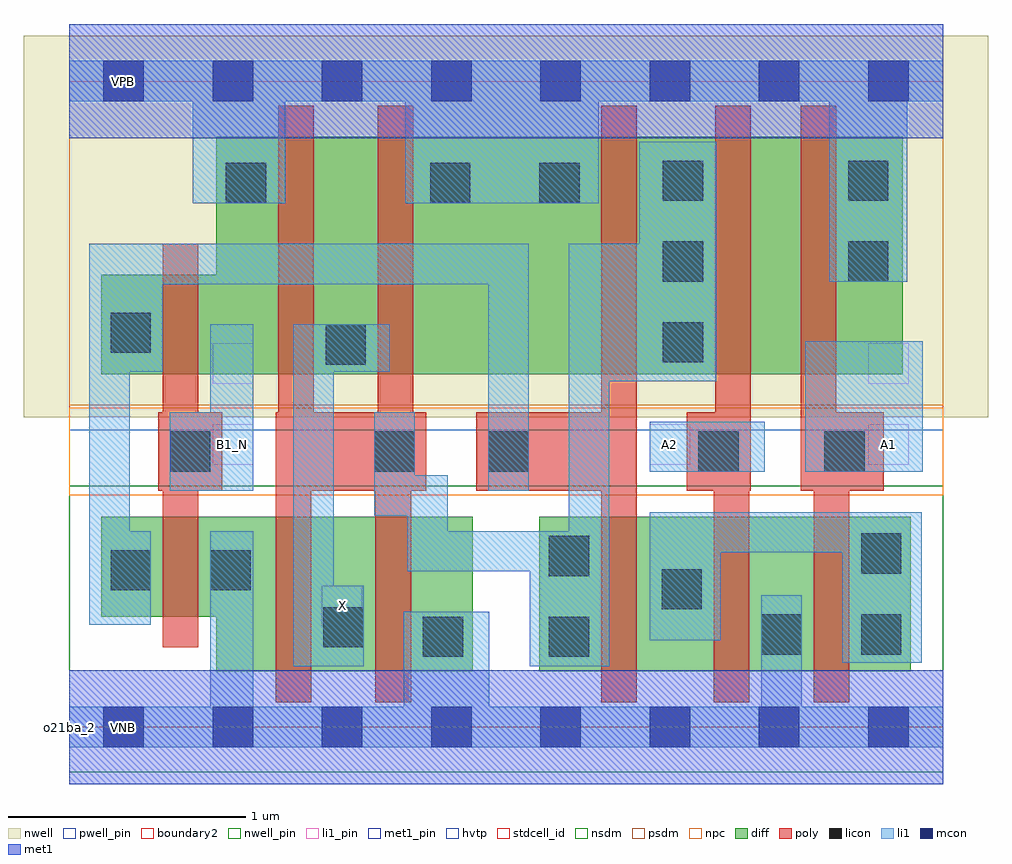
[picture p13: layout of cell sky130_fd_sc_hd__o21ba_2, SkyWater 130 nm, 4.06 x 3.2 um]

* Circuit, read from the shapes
.subckt sky130_fd_sc_hd__o21ba_2 A1 A2 B1_N VGND VNB VPB VPWR X
XM1 VGND B1_N n1 VNB sky130_fd_pr__nfet_01v8 w=0.42 l=0.15
XM2 X n2 VGND VNB sky130_fd_pr__nfet_01v8 w=0.65 l=0.15 m=2
XM3 n3 n1 n2 VNB sky130_fd_pr__nfet_01v8 w=0.65 l=0.15
XM4 VGND A2 n3 VNB sky130_fd_pr__nfet_01v8 w=0.65 l=0.15
XM5 n3 A1 VGND VNB sky130_fd_pr__nfet_01v8 w=0.65 l=0.15
XM6 VPWR B1_N n1 VPB sky130_fd_pr__pfet_01v8_hvt w=0.42 l=0.15
XM7 X n2 VPWR VPB sky130_fd_pr__pfet_01v8_hvt w=1 l=0.15 m=2
XM8 n2 n1 VPWR VPB sky130_fd_pr__pfet_01v8_hvt w=1 l=0.15
XM9 n4 A2 n2 VPB sky130_fd_pr__pfet_01v8_hvt w=1 l=0.15
XM10 VPWR A1 n4 VPB sky130_fd_pr__pfet_01v8_hvt w=1 l=0.15
.ends

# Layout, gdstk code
import gdstk
lib = gdstk.Library(unit=1e-6, precision=1e-09)
def R(c, l, rs):  # rectangles x0, y0, x1, y1
    for r in rs: c.add(gdstk.rectangle(r[:2], r[2:], *l))
def A(c, l, x, y, w, h, nx, ny, dx, dy):  # array of equal rectangles
    R(c, l, [(x+i*dx, y+j*dy, x+i*dx+w, y+j*dy+h) for i in range(nx) for j in range(ny)])
def P(c, l, *ps):  # polygons
    for p in ps: c.add(gdstk.Polygon(p, *l))
nwell_pin = (64, 16)
nwell = (64, 20)
diff = (65, 20)
poly = (66, 20)
licon = (66, 44)
li1_pin = (67, 16)
li1 = (67, 20)
mcon = (67, 44)
met1_pin = (68, 16)
met1 = (68, 20)
hvtp = (78, 44)
stdcell_id = (81, 4)
nsdm = (93, 44)
psdm = (94, 20)
npc = (95, 20)
pwell_pin = (122, 16)
boundary2 = (236, 0)

sky130_fd_sc_hd__o21ba_2 = lib.new_cell('sky130_fd_sc_hd__o21ba_2')
R(sky130_fd_sc_hd__o21ba_2, nwell_pin, [(0.145,2.635,0.315,2.805)])
R(sky130_fd_sc_hd__o21ba_2, nwell, [(-0.19,1.305,3.87,2.91)])
R(sky130_fd_sc_hd__o21ba_2, diff, [(1.98,0.235,3.545,0.885)])
P(sky130_fd_sc_hd__o21ba_2, diff, [(3.51,2.485),(0.62,2.485),(0.62,1.905),(0.135,1.905),(0.135,1.485),(3.51,1.485)],
  [(1.7,0.885),(0.135,0.885),(0.135,0.465),(0.62,0.465),(0.62,0.235),(1.7,0.235)])
P(sky130_fd_sc_hd__o21ba_2, poly, [(0.645,1.325),(0.545,1.325),(0.545,2.035),(0.395,2.035),(0.395,1.325),(0.375,1.325),(0.375,0.995),(0.395,0.995),(0.395,0.335),(0.545,0.335),(0.545,0.995),(0.645,0.995)],
  [(3.43,1.325),(3.23,1.325),(3.23,2.615),(3.08,2.615),(3.08,0.995),(3.135,0.995),(3.135,0.105),(3.285,0.105),(3.285,0.995),(3.43,0.995)],
  [(1.505,1.325),(1.45,1.325),(1.45,2.615),(1.3,2.615),(1.3,1.325),(1.03,1.325),(1.03,2.615),(0.88,2.615),(0.88,1.325),(0.87,1.325),(0.87,0.105),(1.02,0.105),(1.02,0.995),(1.29,0.995),(1.29,0.105),(1.44,0.105),(1.44,0.995),(1.505,0.995)],
  [(2.39,2.615),(2.24,2.615),(2.24,1.325),(1.715,1.325),(1.715,0.995),(2.24,0.995),(2.24,0.105),(2.39,0.105)],
  [(2.87,2.615),(2.72,2.615),(2.72,1.325),(2.6,1.325),(2.6,0.995),(2.715,0.995),(2.715,0.105),(2.865,0.105),(2.865,0.995),(2.87,0.995)])
A(sky130_fd_sc_hd__o21ba_2, licon, 2.5, 1.535, 0.17, 0.17, 1, 3, 0, 0.34)
R(sky130_fd_sc_hd__o21ba_2, licon, [(1.49,0.295,1.66,0.465), (2.02,0.295,2.19,0.465), (2.915,0.305,3.085,0.475), (3.335,0.305,3.505,0.475), (1.07,0.335,1.24,0.505), (2.495,0.495,2.665,0.665), (0.175,0.575,0.345,0.745), (0.595,0.575,0.765,0.745), (2.02,0.635,2.19,0.805), (3.335,0.645,3.505,0.815), (0.425,1.075,0.595,1.245), (1.285,1.075,1.455,1.245), (1.765,1.075,1.935,1.245), (2.65,1.075,2.82,1.245), (3.18,1.075,3.35,1.245), (1.08,1.525,1.25,1.695), (0.175,1.575,0.345,1.745), (3.28,1.875,3.45,2.045), (0.66,2.205,0.83,2.375), (1.52,2.205,1.69,2.375), (1.98,2.205,2.15,2.375), (3.28,2.215,3.45,2.385)])
R(sky130_fd_sc_hd__o21ba_2, li1_pin, [(1.065,0.425,1.235,0.595), (0.605,1.105,0.775,1.275), (2.445,1.105,2.615,1.275), (3.365,1.105,3.535,1.275), (0.605,1.445,0.775,1.615), (3.365,1.445,3.535,1.615)])
R(sky130_fd_sc_hd__o21ba_2, li1, [(2.445,1.075,2.93,1.285), (3.1,1.075,3.595,1.625)])
P(sky130_fd_sc_hd__o21ba_2, li1, [(0.775,1.695),(0.595,1.695),(0.595,1.325),(0.425,1.325),(0.425,0.995),(0.775,0.995)],
  [(3.59,0.905),(2.445,0.905),(2.445,0.365),(2.745,0.365),(2.745,0.735),(3.255,0.735),(3.255,0.27),(3.59,0.27)],
  [(1.35,1.695),(0.945,1.695),(0.945,0.255),(1.24,0.255),(1.24,0.595),(1.115,0.595),(1.115,1.495),(1.35,1.495)],
  [(1.935,2.035),(0.085,2.035),(0.085,0.43),(0.345,0.43),(0.345,0.825),(0.255,0.825),(0.255,1.495),(0.395,1.495),(0.395,1.865),(1.765,1.865),(1.765,0.995),(1.935,0.995)],
  [(3.68,0.085),(3.085,0.085),(3.085,0.555),(2.915,0.555),(2.915,0.085),(1.77,0.085),(1.77,0.485),(1.41,0.485),(1.41,0.085),(0.775,0.085),(0.775,0.825),(0.595,0.825),(0.595,0.085),(0,0.085),(0,-0.085),(3.68,-0.085)],
  [(2.725,2.465),(2.4,2.465),(2.4,2.035),(2.105,2.035),(2.105,0.825),(1.595,0.825),(1.595,1.06),(1.455,1.06),(1.455,1.325),(1.285,1.325),(1.285,0.89),(1.425,0.89),(1.425,0.655),(1.94,0.655),(1.94,0.255),(2.275,0.255),(2.275,1.455),(2.725,1.455)],
  [(3.68,2.805),(0,2.805),(0,2.635),(0.52,2.635),(0.52,2.205),(0.91,2.205),(0.91,2.635),(1.415,2.635),(1.415,2.205),(2.23,2.205),(2.23,2.635),(3.2,2.635),(3.2,1.875),(3.53,1.875),(3.53,2.635),(3.68,2.635)])
A(sky130_fd_sc_hd__o21ba_2, mcon, 0.145, -0.085, 0.17, 0.17, 8, 2, 0.46, 2.72)
R(sky130_fd_sc_hd__o21ba_2, met1_pin, [(0.145,-0.085,0.315,0.085), (0.145,2.635,0.315,2.805)])
R(sky130_fd_sc_hd__o21ba_2, hvtp, [(0,1.25,3.68,2.72)])
R(sky130_fd_sc_hd__o21ba_2, stdcell_id, [(0,0,3.68,2.72)])
R(sky130_fd_sc_hd__o21ba_2, nsdm, [(0,-0.19,3.68,1.015)])
R(sky130_fd_sc_hd__o21ba_2, psdm, [(0,1.355,3.68,2.91)])
R(sky130_fd_sc_hd__o21ba_2, npc, [(0,0.975,3.68,1.345)])
R(sky130_fd_sc_hd__o21ba_2, pwell_pin, [(0.145,-0.085,0.315,0.085)])
R(sky130_fd_sc_hd__o21ba_2, boundary2, [(0,0,3.68,2.72)])
sky130_fd_sc_hd__o21ba_2.add(gdstk.FlexPath([(0,2.72),(3.68,2.72)], 0.48, ends="flush", simple_path=True, layer=68, datatype=20))  # met1
sky130_fd_sc_hd__o21ba_2.add(gdstk.FlexPath([(0,0),(3.68,0)], 0.48, ends="flush", simple_path=True, layer=68, datatype=20))  # met1
sky130_fd_sc_hd__o21ba_2.add(gdstk.Label('B1_N', (0.69,1.19), layer=67, texttype=5))
sky130_fd_sc_hd__o21ba_2.add(gdstk.Label('A1', (3.45,1.19), layer=67, texttype=5))
sky130_fd_sc_hd__o21ba_2.add(gdstk.Label('X', (1.15,0.51), layer=67, texttype=5))
sky130_fd_sc_hd__o21ba_2.add(gdstk.Label('A2', (2.53,1.19), layer=67, texttype=5))
sky130_fd_sc_hd__o21ba_2.add(gdstk.Label('VNB', (0.23,0), layer=64, texttype=59))
sky130_fd_sc_hd__o21ba_2.add(gdstk.Label('VPB', (0.23,2.72), layer=64, texttype=5))
sky130_fd_sc_hd__o21ba_2.add(gdstk.Label('VGND', (0.23,0), layer=68, texttype=5))
sky130_fd_sc_hd__o21ba_2.add(gdstk.Label('VPWR', (0.23,2.72), layer=68, texttype=5))
sky130_fd_sc_hd__o21ba_2.add(gdstk.Label('o21ba_2', (0,0), layer=83, texttype=44))

lib.write_gds('sky130_fd_sc_hd__o21ba_2.gds')
